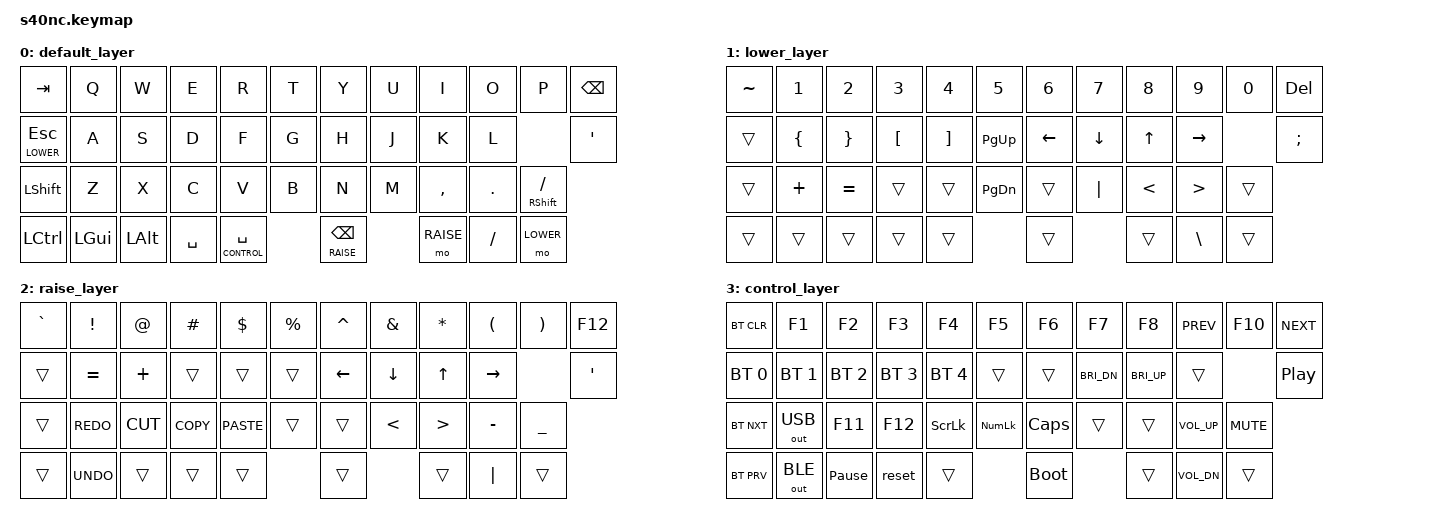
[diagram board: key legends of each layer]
/*
 * Copyright (c) 2021 The ZMK Contributors
 *
 * SPDX-License-Identifier: MIT
 */

#include <behaviors.dtsi>
#include <dt-bindings/zmk/keys.h>
#include <dt-bindings/zmk/bt.h>
#include <dt-bindings/zmk/outputs.h>

#define DEFAULT 0
#define LOWER   1
#define RAISE   2
#define CONTROL 3

/ { combo_ret {
	timeout-ms = <80>;
	key-positions = <22 23>;
	bindings = <&kp RET>;
	};

keymap {
		compatible = "zmk,keymap";
		
		default_layer {
			bindings = <
                &kp TAB    &kp Q     &kp W     &kp E  &kp R     &kp T      &kp Y   &kp U  &kp I     &kp O     &kp P     &kp BSPC
             &lt LOWER ESC &kp A     &kp S     &kp D  &kp F     &kp G      &kp H   &kp J  &kp K     &kp L               &kp SQT
                &kp LSHFT  &kp Z     &kp X     &kp C  &kp V     &kp B      &kp N   &kp M  &kp COMMA &kp DOT		&mt RSHFT SLASH
                &kp LCTRL  &kp LGUI  &kp LALT  &kp SPACE  &lt CONTROL SPACE  &lt RAISE BSPC  &mo RAISE  &kp FSLH  &mo LOWER
			>;
		};

		lower_layer {
			bindings = <
                &kp TILDE  &kp N1     &kp N2     &kp N3    &kp N4    &kp N5     &kp N6     &kp N7     &kp N8    &kp N9  &kp N0  &kp DEL
                &trans     &kp LBRC   &kp RBRC   &kp LBKT  &kp RBKT  &kp PG_UP  &kp LEFT   &kp DOWN   &kp UP    &kp RIGHT       &kp SEMI
                &trans     &kp PLUS   &kp EQUAL  &trans    &trans    &kp PG_DN  &trans     &kp PIPE   &kp LT    &kp GT          &trans
                &trans     &trans     &trans     &trans         &trans         &trans              &trans      &kp BSLH  &trans
			>;
		};
        
        raise_layer {
			bindings = <
                &kp GRAVE  &kp EXCL    &kp AT     &kp HASH   &kp DLLR     &kp PRCNT  &kp CARET  &kp AMPS  &kp STAR  &kp LPAR   &kp RPAR   &kp F12
                &trans     &kp EQUAL   &kp PLUS   &trans     &trans       &trans     &kp LEFT   &kp DOWN  &kp UP    &kp RIGHT             &kp SQT
                &trans     &kp K_REDO  &kp K_CUT  &kp K_COPY &kp K_PASTE  &trans     &trans     &kp LT    &kp GT               &kp MINUS  &kp UNDER
                &trans     &kp K_UNDO &trans    &trans                  &trans               &trans             &trans     &kp PIPE   &trans
			>;
		};
        
        control_layer {
			bindings = <
                &bt BT_CLR    &kp F1        &kp F2      &kp F3      &kp F4    &kp F5  &kp F6  &kp F7        &kp F8        &kp C_PREV    &kp F10   &kp C_NEXT
                &bt BT_SEL 0  &bt BT_SEL 1  &bt BT_SEL 2     &bt BT_SEL 3      &bt BT_SEL 4    &trans  &trans  &kp C_BRI_DN  &kp C_BRI_UP  &trans        &kp C_PP
                &bt BT_NXT  &out OUT_USB  &kp F11    &kp F12  &kp SLCK  &kp KP_NUM   &kp CAPS  &trans        &trans        &kp K_VOL_UP  &kp K_MUTE
                &bt BT_PRV  &out OUT_BLE  &kp PAUSE_BREAK  &reset                &trans          &bootloader         &trans  &kp K_VOL_DN  &trans
			>;
		};
	};
};
